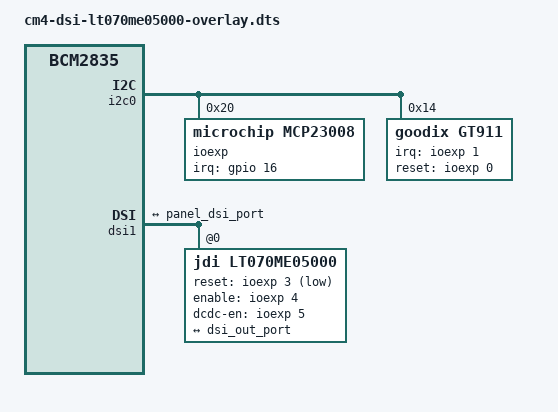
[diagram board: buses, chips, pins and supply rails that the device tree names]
/*
 * Device Tree overlay for sx1508 IO expander, jdi lt070me05000 panel, and goodix touchscreen.
 * Compile: dtc -Wno-interrupts_property -@ -I dts -O dtb -o cm4-dsi-lt070me05000.dtbo cm4-dsi-lt070me05000-overlay.dts
 */

/dts-v1/;
/plugin/;

/ {
    compatible = "brcm,bcm2835";
    fragment@0 {
        target = <&i2c0>;
        __overlay__{
            status = "okay";
            #address-cells = <1>;
            #size-cells = <0>;

            ioexp: ioexp@20 {
                #gpio-cells = <2>;
                compatible = "microchip,mcp23008";
                reg = <0x20>;
                gpio-controller;
                status     = "okay";

                pinctrl-names = "default";
                pinctrl-0 = <&jdi_panel_pins
                            &goodix_pins>;

                jdi_panel_pins: jdi_panel-cfg {
                    brcm,pins = <3 4 5>;
                    brcm,function = <0 0 0>;
                };

                goodix_pins: goodix_pins {
                    brcm,pins = <1 0>; // interrupt and reset
                    brcm,function = <0 0>; // in
                    brcm,pull = <2 2>; // pull-up
                };
            };

            gt911: gt911@14 {
                compatible = "goodix,gt911";
                reg = <0x14>;
                pinctrl-names = "default";
                pinctrl-0 = <&goodix_pins>;
                interrupt-parent = <&ioexp>;
                interrupts = <1 2>; // high-to-low edge triggered
                irq-gpios = <&ioexp 1 0>;
                reset-gpios = <&ioexp 0 0>;
                status        = "okay";
            };
        };
    };

    fragment@1 {
        target = <&ioexp>;
        ioexp_irq: __overlay__ {
            #interrupt-cells=<2>;
            interrupt-parent = <&gpio>;
            interrupts = <16 2>;
            interrupt-controller;
        };
    };

    fragment@2 {
        target = <&dsi1>;
        __overlay__{
            status = "okay";
            #address-cells = <1>;
            #size-cells = <0>;
            port {
                dsi_out_port:endpoint {
                    remote-endpoint = <&panel_dsi_port>;
                };
            };

            lt070me05000:lt070me05000@0 {
                compatible    = "jdi,lt070me05000";
                status        = "okay";
                reg           = <0>;
                vc4_dsi       = <&dsi1>;

                pinctrl-names = "default";
                pinctrl-0 = <&jdi_panel_pins>;
                reset-gpios   = <&ioexp 3 1>;
                enable-gpios  = <&ioexp 4 0>;
                dcdc-en-gpios = <&ioexp 5 0>;
                port {
                    panel_dsi_port: endpoint {
                        remote-endpoint = <&dsi_out_port>;
                    };
                };
            };
        };
    };

    fragment@3 {
        target = <&i2c0mux>;
        __overlay__ {
            pinctrl-0 = <&i2c0_gpio44>;
        };
    };
};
